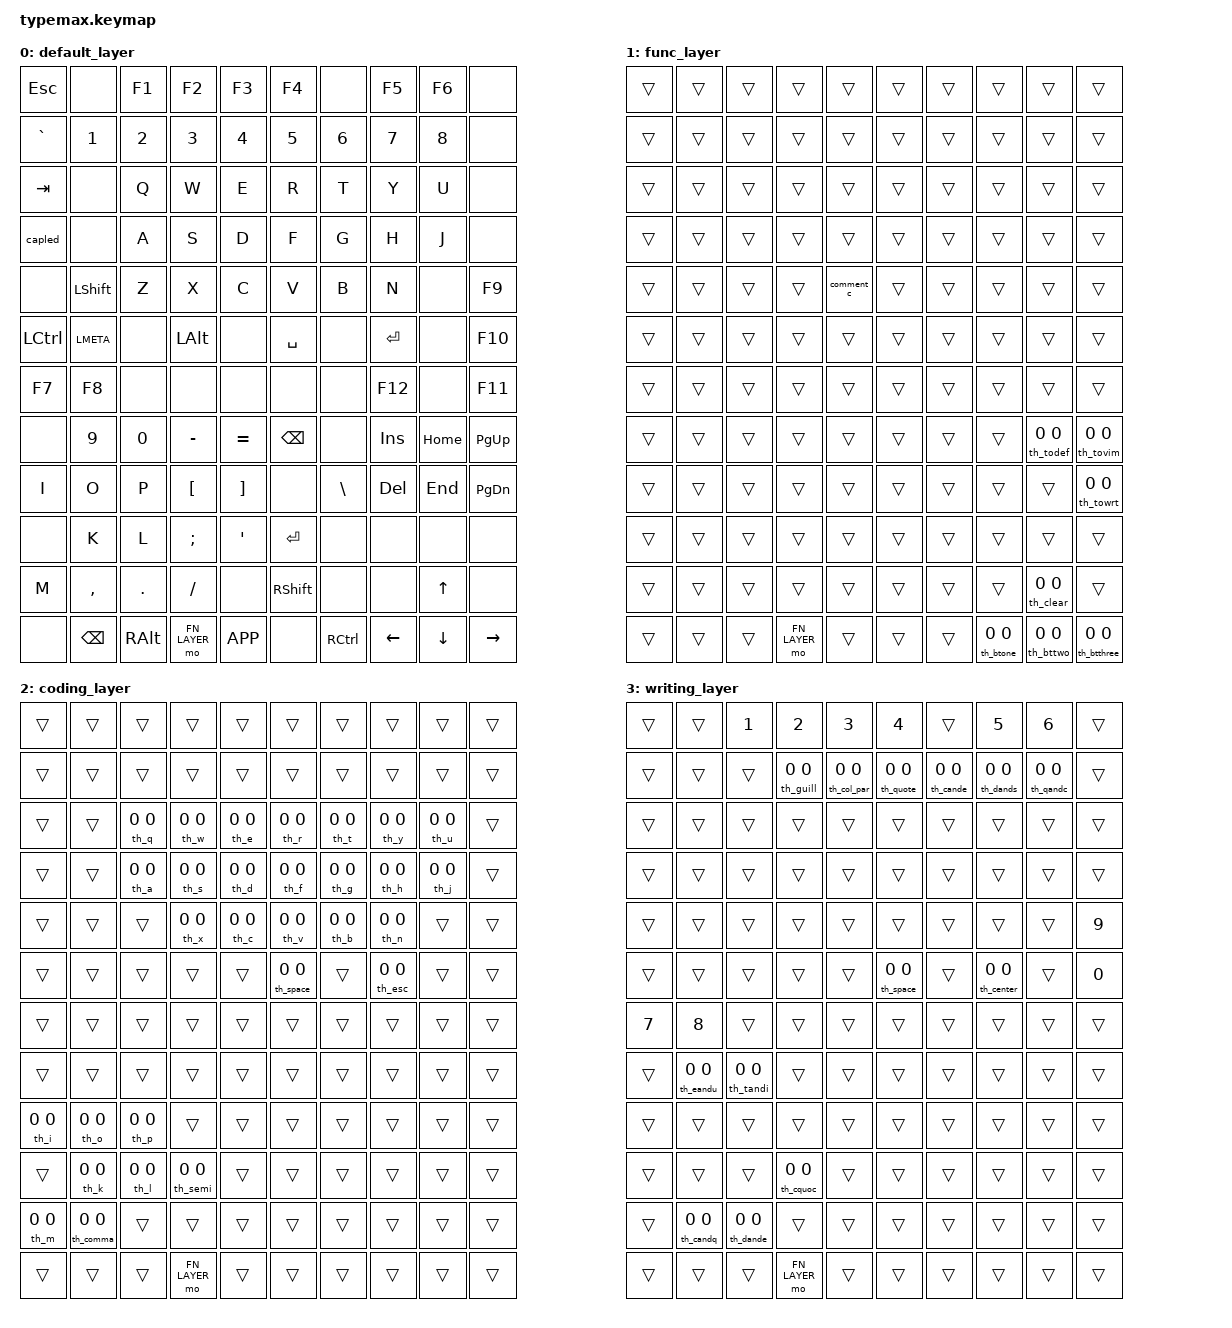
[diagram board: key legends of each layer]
/*
 * Copyright (c) 2020 The ZMK Contributors
 *
 * SPDX-License-Identifier: MIT
 */

#include <behaviors.dtsi>
#include <dt-bindings/zmk/keys.h>
#include <dt-bindings/zmk/bt.h>
#include <dt-bindings/zmk/pointing.h>
#include "typemax.dtsi"

#define DEF_LAYER 0
#define FN_LAYER 1
#define VIM_LAYER 2
#define WRT_LAYER 3

/ {
    keymap {
        compatible = "zmk,keymap";

        // 排在第一位的，就是 layer 0，跟名字没有任何关系，后面如此类推
        default_layer {
            bindings = <
    /*          // COL_1        // COL_2        // COL_3        // COL_4        // COL_5        // COL_6        // COL_7        // COL_8        // COL_9        // COL_10
                //——————————————//——————————————//——————————————//——————————————//——————————————//——————————————//——————————————//——————————————//——————————————//—————————————— */
    /*ROW_1*/   &kp ESC         &none           &kp F1          &kp F2          &kp F3          &kp F4          &none           &kp F5          &kp F6          &none
    /*ROW_2*/   &kp GRAVE       &kp N1          &kp N2          &kp N3          &kp N4          &kp N5          &kp N6          &kp N7          &kp N8          &none
    /*ROW_3*/   &kp TAB         &none           &kp Q           &kp W           &kp E           &kp R           &kp T           &kp Y           &kp U           &none
    /*ROW_4*/   &capled         &none           &kp A           &kp S           &kp D           &kp F           &kp G           &kp H           &kp J           &none
    /*ROW_5*/   &none           &kp LSHIFT      &kp Z           &kp X           &kp C           &kp V           &kp B           &kp N           &none           &kp F9
    /*ROW_6*/   &kp LCTRL       &kp LMETA       &none           &kp LALT        &none           &kp SPACE       &none           &kp ENTER       &none           &kp F10
    /*ROW_7*/   &kp F7          &kp F8          &none           &none           &none           &none           &none           &kp F12         &none           &kp F11
    /*ROW_8*/   &none           &kp N9          &kp N0          &kp MINUS       &kp EQUAL       &kp BACKSPACE   &none           &kp INSERT      &kp HOME        &kp PAGE_UP
    /*ROW_9*/   &kp I           &kp O           &kp P           &kp LBKT        &kp RBKT        &none           &kp BACKSLASH   &kp DELETE      &kp END         &kp PAGE_DOWN
    /*ROW_10*/  &none           &kp K           &kp L           &kp SEMICOLON   &kp APOSTROPHE  &kp ENTER       &none           &none           &none           &none
    /*ROW_11*/  &kp M           &kp COMMA       &kp DOT         &kp SLASH       &none           &kp RSHIFT      &none           &none           &kp UP_ARROW    &none
    /*ROW_12*/  &none           &kp BACKSPACE   &kp RALT        &mo FN_LAYER    &kp K_APP       &none           &kp RCTRL       &kp LEFT_ARROW  &kp DOWN_ARROW  &kp RIGHT_ARROW  
            >;
        };

        // layer 1 , fn 功能键层
        func_layer {
            bindings = <
    /*          // COL_1        // COL_2        // COL_3        // COL_4        // COL_5        // COL_6        // COL_7        // COL_8        // COL_9        // COL_10
                //——————————————//——————————————//——————————————//——————————————//——————————————//——————————————//——————————————//——————————————//——————————————//—————————————— */
    /*ROW_1*/   &trans          &trans          &trans          &trans          &trans          &trans          &trans          &trans          &trans          &trans
    /*ROW_2*/   &trans          &trans          &trans          &trans          &trans          &trans          &trans          &trans          &trans          &trans
    /*ROW_3*/   &trans          &trans          &trans          &trans          &trans          &trans          &trans          &trans          &trans          &trans
    /*ROW_4*/   &trans          &trans          &trans          &trans          &trans          &trans          &trans          &trans          &trans          &trans
    /*ROW_5*/   &trans          &trans          &trans          &trans          &comment_c      &trans          &trans          &trans          &trans          &trans
    /*ROW_6*/   &trans          &trans          &trans          &trans          &trans          &trans          &trans          &trans          &trans          &trans
    /*ROW_7*/   &trans          &trans          &trans          &trans          &trans          &trans          &trans          &trans          &trans          &trans
    /*ROW_8*/   &trans          &trans          &trans          &trans          &trans          &trans          &trans          &trans          &th_todef 0 0   &th_tovim 0 0
    /*ROW_9*/   &trans          &trans          &trans          &trans          &trans          &trans          &trans          &trans          &trans          &th_towrt 0 0
    /*ROW_10*/  &trans          &trans          &trans          &trans          &trans          &trans          &trans          &trans          &trans          &trans
    /*ROW_11*/  &trans          &trans          &trans          &trans          &trans          &trans          &trans          &trans          &th_clear 0 0   &trans
    /*ROW_12*/  &trans          &trans          &trans          &mo FN_LAYER    &trans          &trans          &trans          &th_btone 0 0   &th_bttwo 0 0   &th_btthree 0 0 
            >;
        };

        // layer 2 , vim 编程模式功能键层
        coding_layer {
            bindings = <
    /*          // COL_1        // COL_2        // COL_3        // COL_4        // COL_5        // COL_6        // COL_7        // COL_8        // COL_9        // COL_10
                //——————————————//——————————————//——————————————//——————————————//——————————————//——————————————//——————————————//——————————————//——————————————//—————————————— */
    /*ROW_1*/   &trans          &trans          &trans          &trans          &trans          &trans          &trans          &trans          &trans          &trans
    /*ROW_2*/   &trans          &trans          &trans          &trans          &trans          &trans          &trans          &trans          &trans          &trans
    /*ROW_3*/   &trans          &trans          &th_q 0 0       &th_w 0 0       &th_e 0 0       &th_r 0 0       &th_t 0 0       &th_y 0 0       &th_u 0 0       &trans
    /*ROW_4*/   &trans          &trans          &th_a 0 0       &th_s 0 0       &th_d 0 0       &th_f 0 0       &th_g 0 0       &th_h 0 0       &th_j 0 0       &trans
    /*ROW_5*/   &trans          &trans          &trans          &th_x 0 0       &th_c 0 0       &th_v 0 0       &th_b 0 0       &th_n 0 0       &trans          &trans
    /*ROW_6*/   &trans          &trans          &trans          &trans          &trans          &th_space 0 0   &trans          &th_esc 0 0     &trans          &trans
    /*ROW_7*/   &trans          &trans          &trans          &trans          &trans          &trans          &trans          &trans          &trans          &trans
    /*ROW_8*/   &trans          &trans          &trans          &trans          &trans          &trans          &trans          &trans          &trans          &trans
    /*ROW_9*/   &th_i 0 0       &th_o 0 0       &th_p 0 0       &trans          &trans          &trans          &trans          &trans          &trans          &trans
    /*ROW_10*/  &trans          &th_k 0 0       &th_l 0 0       &th_semi 0 0    &trans          &trans          &trans          &trans          &trans          &trans
    /*ROW_11*/  &th_m 0 0       &th_comma 0 0   &trans          &trans          &trans          &trans          &trans          &trans          &trans          &trans
    /*ROW_12*/  &trans          &trans          &trans          &mo FN_LAYER    &trans          &trans          &trans          &trans          &trans          &trans 
            >;
        };

        // layer 3, 中文小说写作模式
        writing_layer {
            bindings = <
    /*          // COL_1        // COL_2        // COL_3        // COL_4        // COL_5        // COL_6        // COL_7        // COL_8        // COL_9        // COL_10
                //——————————————//——————————————//——————————————//——————————————//——————————————//——————————————//——————————————//——————————————//——————————————//—————————————— */
    /*ROW_1*/   &trans          &trans          &kp N1          &kp N2          &kp N3          &kp N4          &trans          &kp N5          &kp N6          &trans
    /*ROW_2*/   &trans          &trans          &trans          &th_guill 0 0   &th_col_par 0 0 &th_quote 0 0   &th_cande 0 0   &th_dands 0 0   &th_qandc 0 0   &trans
    /*ROW_3*/   &trans          &trans          &trans          &trans          &trans          &trans          &trans          &trans          &trans          &trans
    /*ROW_4*/   &trans          &trans          &trans          &trans          &trans          &trans          &trans          &trans          &trans          &trans
    /*ROW_5*/   &trans          &trans          &trans          &trans          &trans          &trans          &trans          &trans          &trans          &kp N9
    /*ROW_6*/   &trans          &trans          &trans          &trans          &trans          &th_space 0 0   &trans          &th_center 0 0  &trans          &kp N0
    /*ROW_7*/   &kp N7          &kp N8          &trans          &trans          &trans          &trans          &trans          &trans          &trans          &trans
    /*ROW_8*/   &trans          &th_eandu 0 0   &th_tandi 0 0   &trans          &trans          &trans          &trans          &trans          &trans          &trans
    /*ROW_9*/   &trans          &trans          &trans          &trans          &trans          &trans          &trans          &trans          &trans          &trans
    /*ROW_10*/  &trans          &trans          &trans          &th_cquoc 0 0   &trans          &trans          &trans          &trans          &trans          &trans
    /*ROW_11*/  &trans          &th_candq 0 0   &th_dande 0 0   &trans          &trans          &trans          &trans          &trans          &trans          &trans
    /*ROW_12*/  &trans          &trans          &trans          &mo FN_LAYER    &trans          &trans          &trans          &trans          &trans          &trans 
            >;
        };
    };
};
